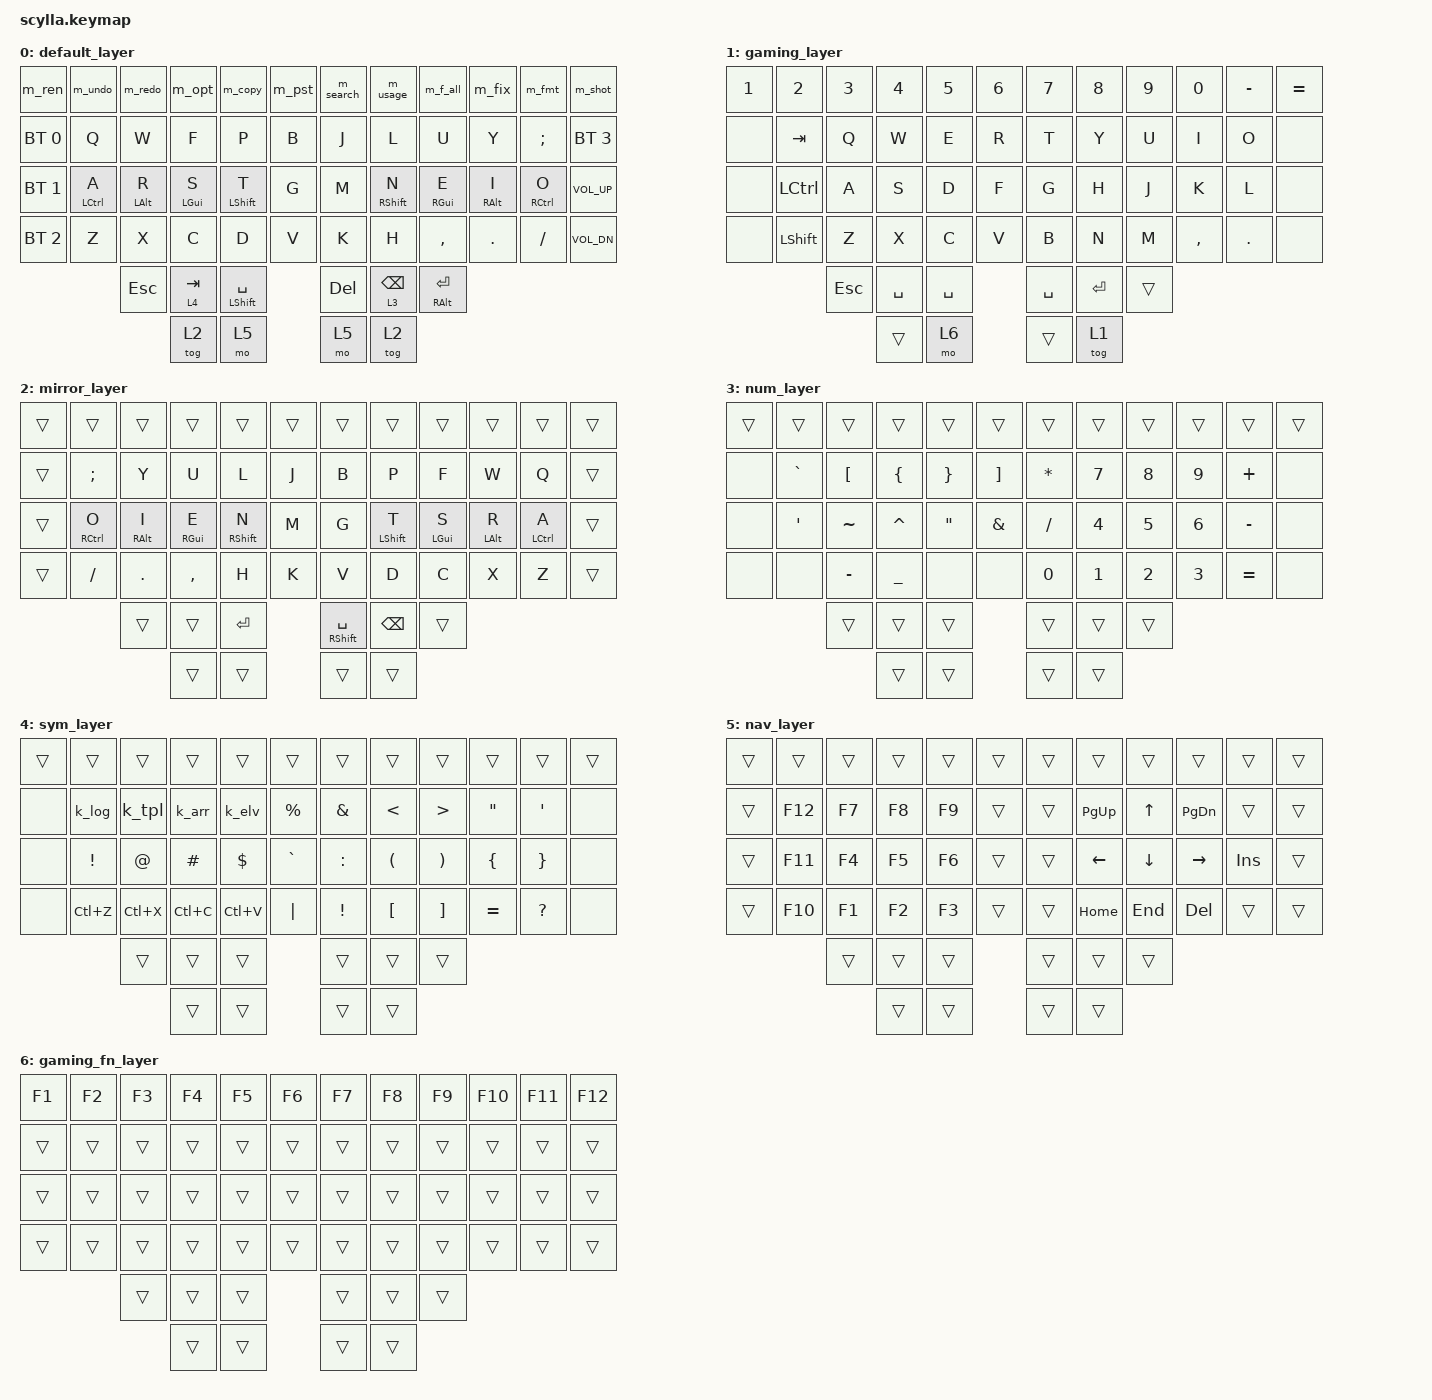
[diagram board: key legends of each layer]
#include <behaviors.dtsi>
#include <dt-bindings/zmk/keys.h>
#include <dt-bindings/zmk/bt.h>
#include <dt-bindings/zmk/outputs.h>

&mt {
    tapping-term-ms = <200>;
    flavor = "tap-preferred";
};

&lt {
    tapping-term-ms = <200>;
    flavor = "balanced";
};

&sk {
    release-after-ms = <2000>;
    quick-release;
};

&sl {
    release-after-ms = <2000>;
};

/ {
    macros {
        k_arr: kotlin_arrow {
            compatible = "zmk,behavior-macro";
            #binding-cells = <0>;
            wait-ms = <10>;
            tap-ms = <10>;
            bindings = <&kp SPACE &kp MINUS &kp GT &kp SPACE>;
            label = "K_ARROW";
        };
        k_elv: kotlin_elvis {
            compatible = "zmk,behavior-macro";
            #binding-cells = <0>;
            wait-ms = <10>;
            tap-ms = <10>;
            bindings = <&kp SPACE &kp QMARK &kp COLON &kp SPACE>;
            label = "K_ELVIS";
        };
        k_tpl: kotlin_template {
            compatible = "zmk,behavior-macro";
            #binding-cells = <0>;
            wait-ms = <10>;
            tap-ms = <10>;
            bindings = <&kp DLLR &kp LBRC &kp RBRC &kp LEFT>;
            label = "K_TEMPLATE";
        };
        k_log: android_log {
            compatible = "zmk,behavior-macro";
            #binding-cells = <0>;
            wait-ms = <10>;
            tap-ms = <10>;
            bindings = <&kp P &kp R &kp I &kp V &kp A &kp T &kp E &kp SPACE &kp C &kp O &kp N &kp S &kp T &kp SPACE &kp V &kp A &kp L &kp SPACE &kp T &kp A &kp G>;
            label = "K_LOG";
        };
        m_ren: rename {
            compatible = "zmk,behavior-macro";
            #binding-cells = <0>;
            wait-ms = <10>;
            tap-ms = <10>;
            bindings = <&kp LS(F6)>;
            label = "RENAME";
        };
        m_undo: undo {
            compatible = "zmk,behavior-macro";
            #binding-cells = <0>;
            wait-ms = <10>;
            tap-ms = <10>;
            bindings = <&kp LC(Z)>;
            label = "UNDO";
        };
        m_redo: redo {
            compatible = "zmk,behavior-macro";
            #binding-cells = <0>;
            wait-ms = <10>;
            tap-ms = <10>;
            bindings = <&kp LC(LS(Z))>;
            label = "REDO";
        };
        m_opt: optimize_imports {
            compatible = "zmk,behavior-macro";
            #binding-cells = <0>;
            wait-ms = <10>;
            tap-ms = <10>;
            bindings = <&kp LC(LA(O))>;
            label = "OPTIMIZE";
        };
        m_copy: copy {
            compatible = "zmk,behavior-macro";
            #binding-cells = <0>;
            wait-ms = <10>;
            tap-ms = <10>;
            bindings = <&kp LC(C)>;
            label = "COPY";
        };
        m_pst: paste {
            compatible = "zmk,behavior-macro";
            #binding-cells = <0>;
            wait-ms = <10>;
            tap-ms = <10>;
            bindings = <&kp LC(V)>;
            label = "PASTE";
        };
        m_search: search_everywhere {
            compatible = "zmk,behavior-macro";
            #binding-cells = <0>;
            wait-ms = <10>;
            tap-ms = <10>;
            bindings = <&kp LSHFT &kp LSHFT>;
            label = "SEARCH";
        };
        m_usage: find_usages {
            compatible = "zmk,behavior-macro";
            #binding-cells = <0>;
            wait-ms = <10>;
            tap-ms = <10>;
            bindings = <&kp LA(F7)>;
            label = "FIND_USAGES";
        };
        m_f_all: find_in_files {
            compatible = "zmk,behavior-macro";
            #binding-cells = <0>;
            wait-ms = <10>;
            tap-ms = <10>;
            bindings = <&kp LC(LS(F))>;
            label = "FIND_ALL";
        };
        m_fix: quick_fix {
            compatible = "zmk,behavior-macro";
            #binding-cells = <0>;
            wait-ms = <10>;
            tap-ms = <10>;
            bindings = <&kp LA(RET)>;
            label = "QUICK_FIX";
        };
        m_fmt: reformat_code {
            compatible = "zmk,behavior-macro";
            #binding-cells = <0>;
            wait-ms = <10>;
            tap-ms = <10>;
            bindings = <&kp LC(LA(L))>;
            label = "REFORMAT";
        };
        m_shot: screenshot {
            compatible = "zmk,behavior-macro";
            #binding-cells = <0>;
            wait-ms = <10>;
            tap-ms = <10>;
            bindings = <&kp LG(LS(S))>;
            label = "SCREENSHOT";
        };
    };

    behaviors {
        hm: homerow_mods {
            compatible = "zmk,behavior-hold-tap";
            label = "HOMEROW_MODS";
            #binding-cells = <2>;
            tapping-term-ms = <200>;
            quick-tap-ms = <0>;
            flavor = "tap-preferred";
            bindings = <&kp>, <&kp>;
        };
    };

    combos {
        compatible = "zmk,combos";
        timeout-ms = <50>;

        combo_num_right {
            timeout-ms = <50>;
            key-positions = <15 16>;
            bindings = <&sl 3>;
        };

        combo_sym_right {
            timeout-ms = <50>;
            key-positions = <16 17>;
            bindings = <&sl 4>;
        };

        combo_select_all {
            timeout-ms = <50>;
            key-positions = <10 11>;
            bindings = <&kp LC(A)>;
        };

        combo_sym_left {
            timeout-ms = <50>;
            key-positions = <11 12>;
            bindings = <&sl 4>;
        };

        combo_bt_clr {
            timeout-ms = <50>;
            key-positions = <0 11>;
            bindings = <&bt BT_CLR>;
        };
    };

    keymap {
        compatible = "zmk,keymap";

        default_layer {
            bindings = <
&m_ren        &m_undo      &m_redo      &m_opt       &m_copy      &m_pst            &m_search    &m_usage     &m_f_all     &m_fix       &m_fmt       &m_shot
&bt BT_SEL 0  &kp Q        &kp W        &kp F        &kp P        &kp B             &kp J        &kp L        &kp U        &kp Y        &kp SEMI     &bt BT_SEL 3
&bt BT_SEL 1  &hm LCTRL A  &hm LALT R   &hm LGUI S   &hm LSHFT T  &kp G             &kp M        &hm RSHFT N  &hm RGUI E   &hm RALT I   &hm RCTRL O  &kp C_VOL_UP
&bt BT_SEL 2  &kp Z        &kp X        &kp C        &kp D        &kp V             &kp K        &kp H        &kp COMMA    &kp DOT      &kp FSLH     &kp C_VOL_DN
                           &kp ESC      &lt 4 TAB    &mt LSHFT SPACE                &kp DEL      &lt 3 BSPC   &mt RALT RET
                                        &tog 2       &mo 5                          &mo 5        &tog 2
            >;
        };

        gaming_layer {
            bindings = <
&kp N1        &kp N2       &kp N3       &kp N4       &kp N5       &kp N6            &kp N7       &kp N8       &kp N9       &kp N0       &kp MINUS    &kp EQUAL
&none         &kp TAB      &kp Q        &kp W        &kp E        &kp R             &kp T        &kp Y        &kp U        &kp I        &kp O        &none
&none         &kp LCTRL    &kp A        &kp S        &kp D        &kp F             &kp G        &kp H        &kp J        &kp K        &kp L        &none
&none         &kp LSHFT    &kp Z        &kp X        &kp C        &kp V             &kp B        &kp N        &kp M        &kp COMMA    &kp DOT      &none
                           &kp ESC      &kp SPACE    &kp SPACE                      &kp SPACE    &kp RET      &trans
                                        &trans       &mo 6                          &trans       &tog 1
            >;
        };

        mirror_layer {
            bindings = <
&trans    &trans       &trans       &trans       &trans       &trans            &trans       &trans       &trans       &trans       &trans       &trans
&trans    &kp SEMI     &kp Y        &kp U        &kp L        &kp J             &kp B        &kp P        &kp F        &kp W        &kp Q        &trans
&trans    &hm RCTRL O  &hm RALT I   &hm RGUI E   &hm RSHFT N  &kp M             &kp G        &hm LSHFT T  &hm LGUI S   &hm LALT R   &hm LCTRL A  &trans
&trans    &kp FSLH     &kp DOT      &kp COMMA    &kp H        &kp K             &kp V        &kp D        &kp C        &kp X        &kp Z        &trans
                       &trans       &trans       &kp RET                        &mt RSHFT SPACE &kp BSPC  &trans
                                    &trans       &trans                         &trans       &trans
            >;
        };

        num_layer {
            bindings = <
&trans        &trans       &trans       &trans       &trans       &trans            &trans       &trans       &trans       &trans       &trans       &trans
&none         &kp GRAVE    &kp LBKT     &kp LBRC     &kp RBRC     &kp RBKT          &kp STAR     &kp N7       &kp N8       &kp N9       &kp PLUS     &none
&none         &kp APOS     &kp TILDE    &kp CARET    &kp DQT      &kp AMPS          &kp FSLH     &kp N4       &kp N5       &kp N6       &kp MINUS    &none
&none         &none        &kp MINUS    &kp UNDER    &none        &none             &kp N0       &kp N1       &kp N2       &kp N3       &kp EQUAL    &none
                           &trans       &trans       &trans                         &trans       &trans       &trans
                                        &trans       &trans                         &trans       &trans
            >;
        };

        sym_layer {
            bindings = <
&trans        &trans       &trans       &trans       &trans       &trans            &trans       &trans       &trans       &trans       &trans       &trans
&none         &k_log       &k_tpl       &k_arr       &k_elv       &kp PRCNT         &kp AMPS     &kp LT       &kp GT       &kp DQT      &kp APOS     &none
&none         &kp EXCL     &kp AT       &kp HASH     &kp DLLR     &kp GRAVE         &kp COLON    &kp LPAR     &kp RPAR     &kp LBRC     &kp RBRC     &none
&none         &kp LC(Z)    &kp LC(X)    &kp LC(C)    &kp LC(V)    &kp PIPE          &kp EXCL     &kp LBKT     &kp RBKT     &kp EQUAL    &kp QMARK    &none
                           &trans       &trans       &trans                         &trans       &trans       &trans
                                        &trans       &trans                         &trans       &trans
            >;
        };

        nav_layer {
            bindings = <
&trans        &trans       &trans       &trans       &trans       &trans            &trans       &trans       &trans       &trans       &trans       &trans
&trans        &kp F12      &kp F7       &kp F8       &kp F9       &trans            &trans       &kp PG_UP    &kp UP       &kp PG_DN    &trans       &trans
&trans        &kp F11      &kp F4       &kp F5       &kp F6       &trans            &trans       &kp LEFT     &kp DOWN     &kp RIGHT    &kp INS      &trans
&trans        &kp F10      &kp F1       &kp F2       &kp F3       &trans            &trans       &kp HOME     &kp END      &kp DEL      &trans       &trans
                           &trans       &trans       &trans                         &trans       &trans       &trans
                                        &trans       &trans                         &trans       &trans
            >;
        };

        gaming_fn_layer {
            bindings = <
&kp F1        &kp F2       &kp F3       &kp F4       &kp F5       &kp F6            &kp F7       &kp F8       &kp F9       &kp F10      &kp F11      &kp F12
&trans        &trans       &trans       &trans       &trans       &trans            &trans       &trans       &trans       &trans       &trans       &trans
&trans        &trans       &trans       &trans       &trans       &trans            &trans       &trans       &trans       &trans       &trans       &trans
&trans        &trans       &trans       &trans       &trans       &trans            &trans       &trans       &trans       &trans       &trans       &trans
                           &trans       &trans       &trans                         &trans       &trans       &trans
                                        &trans       &trans                         &trans       &trans
            >;
        };
    };
};
